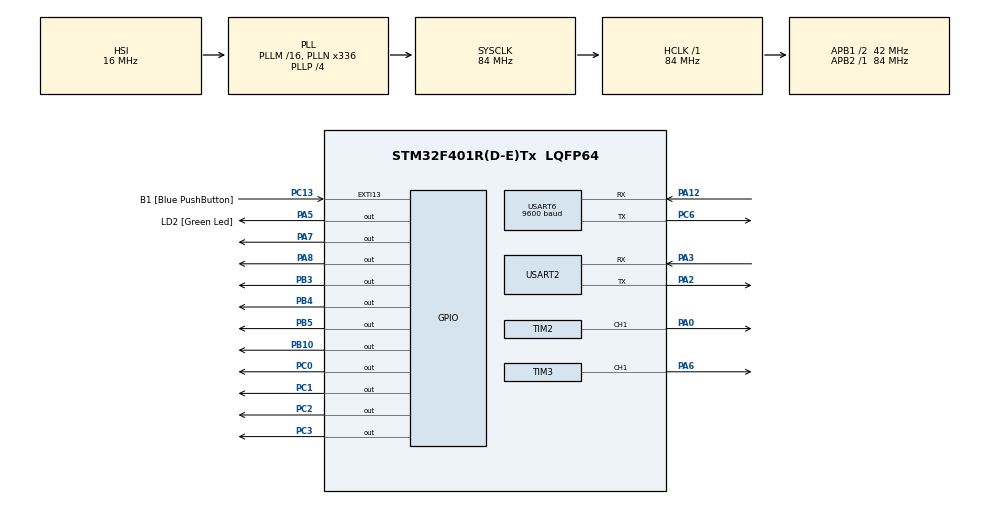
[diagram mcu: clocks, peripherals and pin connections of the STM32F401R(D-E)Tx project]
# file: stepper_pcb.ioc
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Mcu.Family=STM32F4
Mcu.Name=STM32F401R(D-E)Tx
Mcu.Package=LQFP64
NVIC.PriorityGroup=NVIC_PRIORITYGROUP_0
NVIC.TIM1_TRG_COM_TIM11_IRQn=true\:0\:0\:false\:false\:true\:true\:true\:true
NVIC.TIM1_UP_TIM10_IRQn=true\:0\:0\:false\:false\:true\:true\:true\:true
NVIC.USART2_IRQn=true\:0\:0\:false\:false\:true\:true\:true\:true
NVIC.USART6_IRQn=true\:0\:0\:false\:false\:true\:true\:true\:true
PA0-WKUP.Signal=S_TIM2_CH1_ETR
PA12.Mode=Asynchronous
PA12.Signal=USART6_RX
PA13.GPIO_Label=TMS
PA13.Signal=SYS_JTMS-SWDIO
PA14.GPIO_Label=TCK
PA14.Signal=SYS_JTCK-SWCLK
PA2.Mode=Asynchronous
PA2.Signal=USART2_TX
PA3.Mode=Asynchronous
PA3.Signal=USART2_RX
PA5.GPIO_Label=LD2 [Green Led]
PA5.GPIO_Mode=GPIO_MODE_OUTPUT_PP
PA5.GPIO_PuPd=GPIO_NOPULL
PA5.GPIO_Speed=GPIO_SPEED_FREQ_LOW
PA5.Signal=GPIO_Output
PA6.Signal=S_TIM3_CH1
PA7.Signal=GPIO_Output
PA8.Signal=GPIO_Output
PB10.Signal=GPIO_Output
PB3.Signal=GPIO_Output
PB4.Signal=GPIO_Output
PB5.Signal=GPIO_Output
PC0.Signal=GPIO_Output
PC1.Signal=GPIO_Output
PC13-ANTI_TAMP.GPIO_Label=B1 [Blue PushButton]
PC13-ANTI_TAMP.GPIO_ModeDefaultEXTI=GPIO_MODE_IT_FALLING
PC13-ANTI_TAMP.GPIO_PuPd=GPIO_NOPULL
PC13-ANTI_TAMP.Signal=GPXTI13
PC14-OSC32_IN.Signal=RCC_OSC32_IN
PC15-OSC32_OUT.Signal=RCC_OSC32_OUT
PC2.Signal=GPIO_Output
PC3.Signal=GPIO_Output
PC6.Mode=Asynchronous
PC6.Signal=USART6_TX
PH0\ -\ OSC_IN.Signal=RCC_OSC_IN
PH1\ -\ OSC_OUT.Signal=RCC_OSC_OUT
ProjectManager.HeapSize=0x200
ProjectManager.StackSize=0x400
ProjectManager.TargetToolchain=STM32CubeIDE
RCC.AHBFreq_Value=84000000
RCC.APB1CLKDivider=RCC_HCLK_DIV2
RCC.APB1Freq_Value=42000000
RCC.APB1TimFreq_Value=84000000
RCC.APB2Freq_Value=84000000
RCC.APB2TimFreq_Value=84000000
RCC.CortexFreq_Value=84000000
RCC.HCLKFreq_Value=84000000
RCC.HSE_VALUE=8000000
RCC.HSI_VALUE=16000000
RCC.LSE_VALUE=32768
RCC.PLLN=336
RCC.PLLP=RCC_PLLP_DIV4
RCC.PLLQ=7
RCC.SYSCLKFreq_VALUE=84000000
RCC.SYSCLKSource=RCC_SYSCLKSOURCE_PLLCLK
RCC.VCOOutputFreq_Value=336000000
SH.S_TIM2_CH1_ETR.0=TIM2_CH1,PWM Generation1 CH1
SH.S_TIM3_CH1.0=TIM3_CH1,PWM Generation1 CH1
TIM10.Period=9000
TIM10.Prescaler=4500
TIM11.Period=2999
TIM11.Prescaler=39
TIM2.Channel-PWM\ Generation1\ CH1=TIM_CHANNEL_1
TIM2.Period=1999
TIM2.Prescaler=419
TIM3.Channel-PWM\ Generation1\ CH1=TIM_CHANNEL_1
TIM3.Period=1999
TIM3.Prescaler=419
USART2.VirtualMode=VM_ASYNC
USART6.BaudRate=9600
USART6.VirtualMode=VM_ASYNC
VP_TIM10_VS_ClockSourceINT.Mode=Enable_Timer
VP_TIM11_VS_ClockSourceINT.Mode=Enable_Timer
VP_TIM2_VS_ClockSourceINT.Mode=Internal
VP_TIM3_VS_ClockSourceINT.Mode=Internal
board=NUCLEO-F401RE

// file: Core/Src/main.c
/* USER CODE BEGIN Header */
/**
  ******************************************************************************
  * @file           : main.c
  * @brief          : Main program body
  ******************************************************************************
  * @attention
  *
  * Copyright (c) 2024 STMicroelectronics.
  * All rights reserved.
  *
  * This software is licensed under terms that can be found in the LICENSE file
  * in the root directory of this software component.
  * If no LICENSE file comes with this software, it is provided AS-IS.
  *
  ******************************************************************************
  */
/* USER CODE END Header */
#include "main.h"

/* USER CODE BEGIN Includes */
#include"stdio.h"
#include"string.h"

/* USER CODE END Includes */

TIM_HandleTypeDef htim2;
TIM_HandleTypeDef htim3;
TIM_HandleTypeDef htim10;
TIM_HandleTypeDef htim11;

UART_HandleTypeDef huart2;
UART_HandleTypeDef huart6;

void SystemClock_Config(void);
static void MX_GPIO_Init(void);
static void MX_USART2_UART_Init(void);
static void MX_USART6_UART_Init(void);
static void MX_TIM11_Init(void);
static void MX_TIM2_Init(void);
static void MX_TIM3_Init(void);
static void MX_TIM10_Init(void);

/* USER CODE BEGIN 0 */
#define ENABLE_GPIO GPIOA
#define ENABLE_PIN GPIO_PIN_8

#define DIR1_GPIO GPIOB
#define DIR1_PIN GPIO_PIN_10
#define DIR2_GPIO GPIOB
#define DIR2_PIN GPIO_PIN_4
#define DIR3_GPIO GPIOB
#define DIR3_PIN GPIO_PIN_5
#define DIR4_GPIO GPIOB
#define DIR4_PIN GPIO_PIN_3

#define STEP_GPIO GPIOA
#define STEP_PIN GPIO_PIN_7

#define HB1_GPIO  GPIOC
#define HB2_GPIO  GPIOC
#define HB3_GPIO  GPIOC
#define HB4_GPIO  GPIOC
#define HB1_PIN  GPIO_PIN_0
#define HB2_PIN GPIO_PIN_1
#define HB3_PIN GPIO_PIN_2
#define HB4_PIN GPIO_PIN_3
uint8_t answer = 0;

int stepState = 0;
int PINCH_FORWARD_CCR = 205;
int PINCH_BACKWARD_CCR = 320;
int PAN_STOP = 302;
int PAN_UP = 310;
int PAN_DOWN = 295;

void HAL_TIM_PeriodElapsedCallback(TIM_HandleTypeDef *htim) {
    if (htim->Instance == TIM11) {
     	// HAL_GPIO_WritePin(ENABLE_GPIO, ENABLE_PIN, 0);
        HAL_GPIO_WritePin(STEP_GPIO, STEP_PIN, stepState ? GPIO_PIN_SET : GPIO_PIN_RESET);
        stepState = !stepState;
    }
    else if (htim->Instance == TIM10)
    {

    	TIM2->CCR1 = PINCH_BACKWARD_CCR;
    	HAL_TIM_Base_Stop_IT(&htim10);

    }
}

void set_forward_dir()
{
	HAL_GPIO_WritePin(DIR1_GPIO, DIR1_PIN, 1);
	HAL_GPIO_WritePin(DIR2_GPIO, DIR2_PIN, 1);
	HAL_GPIO_WritePin(DIR3_GPIO, DIR3_PIN, 1-1);
	HAL_GPIO_WritePin(DIR4_GPIO, DIR4_PIN, 1-1);
}
void set_backward_dir()
{
	HAL_GPIO_WritePin(DIR1_GPIO, DIR1_PIN, 0);
	HAL_GPIO_WritePin(DIR2_GPIO, DIR2_PIN, 0);
	HAL_GPIO_WritePin(DIR3_GPIO, DIR3_PIN, 1-0);
	HAL_GPIO_WritePin(DIR4_GPIO, DIR4_PIN, 1-0);
}
void set_left_dir()
{
	HAL_GPIO_WritePin(DIR1_GPIO, DIR1_PIN, 0);
	HAL_GPIO_WritePin(DIR2_GPIO, DIR2_PIN, 1);
	HAL_GPIO_WritePin(DIR3_GPIO, DIR3_PIN, 1-1);
	HAL_GPIO_WritePin(DIR4_GPIO, DIR4_PIN, 1-0);
}
void set_right_dir()
{
	HAL_GPIO_WritePin(DIR1_GPIO, DIR1_PIN, 1);
	HAL_GPIO_WritePin(DIR2_GPIO, DIR2_PIN, 0);
	HAL_GPIO_WritePin(DIR3_GPIO, DIR3_PIN, 1-0);
	HAL_GPIO_WritePin(DIR4_GPIO, DIR4_PIN, 1-1);
}
void set_ccw_dir()
{
	HAL_GPIO_WritePin(DIR1_GPIO, DIR1_PIN, 0);
		HAL_GPIO_WritePin(DIR2_GPIO, DIR2_PIN, 0);
		HAL_GPIO_WritePin(DIR3_GPIO, DIR3_PIN, 1-1);
		HAL_GPIO_WritePin(DIR4_GPIO, DIR4_PIN, 1-1);
}
void set_cw_dir()
{
	HAL_GPIO_WritePin(DIR1_GPIO, DIR1_PIN, 1);
		HAL_GPIO_WritePin(DIR2_GPIO, DIR2_PIN, 1);
		HAL_GPIO_WritePin(DIR3_GPIO, DIR3_PIN, 1-0);
		HAL_GPIO_WritePin(DIR4_GPIO, DIR4_PIN, 1-0);
}
void enable()
{
	HAL_GPIO_WritePin(ENABLE_GPIO, ENABLE_PIN, 0);
}
void disable()
{
	HAL_GPIO_WritePin(ENABLE_GPIO, ENABLE_PIN, 1);
}

char number = 0;
/* USER CODE END 0 */

int main(void)
{

  /* MCU Configuration--------------------------------------------------------*/

  /* Reset of all peripherals, Initializes the Flash interface and the Systick. */
  HAL_Init();

  /* Configure the system clock */
  SystemClock_Config();

  /* Initialize all configured peripherals */
  MX_GPIO_Init();
  MX_USART2_UART_Init();
  MX_USART6_UART_Init();
  MX_TIM11_Init();
  MX_TIM2_Init();
  MX_TIM3_Init();
  MX_TIM10_Init();
  /* USER CODE BEGIN 2 */
  // HAL_TIM_Base_Start_IT(&htim10);
  HAL_UART_Receive_IT(&huart6, &answer, 1);
  HAL_UART_Receive_IT(&huart2, &number, 1);
  HAL_TIM_PWM_Start(&htim2, TIM_CHANNEL_1);
  HAL_TIM_PWM_Start(&htim3, TIM_CHANNEL_1);
  // HAL_TIM_Base_Start_IT(&htim11);
  /* USER CODE END 2 */

  /* Infinite loop */
  /* USER CODE BEGIN WHILE */
  // HAL_GPIO_WritePin(ENABLE_GPIO, ENABLE_PIN, 1);
  HAL_GPIO_WritePin(DIR1_GPIO, DIR1_PIN, 0);
  HAL_GPIO_WritePin(DIR2_GPIO, DIR2_PIN, 0);
  HAL_GPIO_WritePin(DIR3_GPIO, DIR3_PIN, 0);
  HAL_GPIO_WritePin(DIR4_GPIO, DIR4_PIN, 0);

  disable();
  while (1)
  {
	  printf("hello world\n");
	  // HAL_GPIO_WritePin(STEP_GPIO, STEP_PIN, 1);
	  // HAL_Delay(100);
	  // HAL_GPIO_WritePin(STEP_GPIO, STEP_PIN, 0);
	  // HAL_Delay(100);
	  HAL_Delay(1000);
    /* USER CODE END WHILE */

  }
}

void SystemClock_Config(void)
{
  RCC_OscInitTypeDef RCC_OscInitStruct = {0};
  RCC_ClkInitTypeDef RCC_ClkInitStruct = {0};

  /** Configure the main internal regulator output voltage
  */
  __HAL_RCC_PWR_CLK_ENABLE();
  __HAL_PWR_VOLTAGESCALING_CONFIG(PWR_REGULATOR_VOLTAGE_SCALE2);

  /** Initializes the RCC Oscillators according to the specified parameters
  * in the RCC_OscInitTypeDef structure.
  */
  RCC_OscInitStruct.OscillatorType = RCC_OSCILLATORTYPE_HSI;
  RCC_OscInitStruct.HSIState = RCC_HSI_ON;
  RCC_OscInitStruct.HSICalibrationValue = RCC_HSICALIBRATION_DEFAULT;
  RCC_OscInitStruct.PLL.PLLState = RCC_PLL_ON;
  RCC_OscInitStruct.PLL.PLLSource = RCC_PLLSOURCE_HSI;
  RCC_OscInitStruct.PLL.PLLM = 16;
  RCC_OscInitStruct.PLL.PLLN = 336;
  RCC_OscInitStruct.PLL.PLLP = RCC_PLLP_DIV4;
  RCC_OscInitStruct.PLL.PLLQ = 7;
  if (HAL_RCC_OscConfig(&RCC_OscInitStruct) != HAL_OK)
  {
    Error_Handler();
  }

  /** Initializes the CPU, AHB and APB buses clocks
  */
  RCC_ClkInitStruct.ClockType = RCC_CLOCKTYPE_HCLK|RCC_CLOCKTYPE_SYSCLK
                              |RCC_CLOCKTYPE_PCLK1|RCC_CLOCKTYPE_PCLK2;
  RCC_ClkInitStruct.SYSCLKSource = RCC_SYSCLKSOURCE_PLLCLK;
  RCC_ClkInitStruct.AHBCLKDivider = RCC_SYSCLK_DIV1;
  RCC_ClkInitStruct.APB1CLKDivider = RCC_HCLK_DIV2;
  RCC_ClkInitStruct.APB2CLKDivider = RCC_HCLK_DIV1;

  if (HAL_RCC_ClockConfig(&RCC_ClkInitStruct, FLASH_LATENCY_2) != HAL_OK)
  {
    Error_Handler();
  }
}

static void MX_TIM2_Init(void)
{

  TIM_ClockConfigTypeDef sClockSourceConfig = {0};
  TIM_MasterConfigTypeDef sMasterConfig = {0};
  TIM_OC_InitTypeDef sConfigOC = {0};

  htim2.Instance = TIM2;
  htim2.Init.Prescaler = 419;
  htim2.Init.CounterMode = TIM_COUNTERMODE_UP;
  htim2.Init.Period = 1999;
  htim2.Init.ClockDivision = TIM_CLOCKDIVISION_DIV1;
  htim2.Init.AutoReloadPreload = TIM_AUTORELOAD_PRELOAD_DISABLE;
  if (HAL_TIM_Base_Init(&htim2) != HAL_OK)
  {
    Error_Handler();
  }
  sClockSourceConfig.ClockSource = TIM_CLOCKSOURCE_INTERNAL;
  if (HAL_TIM_ConfigClockSource(&htim2, &sClockSourceConfig) != HAL_OK)
  {
    Error_Handler();
  }
  if (HAL_TIM_PWM_Init(&htim2) != HAL_OK)
  {
    Error_Handler();
  }
  sMasterConfig.MasterOutputTrigger = TIM_TRGO_RESET;
  sMasterConfig.MasterSlaveMode = TIM_MASTERSLAVEMODE_DISABLE;
  if (HAL_TIMEx_MasterConfigSynchronization(&htim2, &sMasterConfig) != HAL_OK)
  {
    Error_Handler();
  }
  sConfigOC.OCMode = TIM_OCMODE_PWM1;
  sConfigOC.Pulse = 0;
  sConfigOC.OCPolarity = TIM_OCPOLARITY_HIGH;
  sConfigOC.OCFastMode = TIM_OCFAST_DISABLE;
  if (HAL_TIM_PWM_ConfigChannel(&htim2, &sConfigOC, TIM_CHANNEL_1) != HAL_OK)
  {
    Error_Handler();
  }
  HAL_TIM_MspPostInit(&htim2);

}

static void MX_TIM3_Init(void)
{

  TIM_ClockConfigTypeDef sClockSourceConfig = {0};
  TIM_MasterConfigTypeDef sMasterConfig = {0};
  TIM_OC_InitTypeDef sConfigOC = {0};

  htim3.Instance = TIM3;
  htim3.Init.Prescaler = 419;
  htim3.Init.CounterMode = TIM_COUNTERMODE_UP;
  htim3.Init.Period = 1999;
  htim3.Init.ClockDivision = TIM_CLOCKDIVISION_DIV1;
  htim3.Init.AutoReloadPreload = TIM_AUTORELOAD_PRELOAD_DISABLE;
  if (HAL_TIM_Base_Init(&htim3) != HAL_OK)
  {
    Error_Handler();
  }
  sClockSourceConfig.ClockSource = TIM_CLOCKSOURCE_INTERNAL;
  if (HAL_TIM_ConfigClockSource(&htim3, &sClockSourceConfig) != HAL_OK)
  {
    Error_Handler();
  }
  if (HAL_TIM_PWM_Init(&htim3) != HAL_OK)
  {
    Error_Handler();
  }
  sMasterConfig.MasterOutputTrigger = TIM_TRGO_RESET;
  sMasterConfig.MasterSlaveMode = TIM_MASTERSLAVEMODE_DISABLE;
  if (HAL_TIMEx_MasterConfigSynchronization(&htim3, &sMasterConfig) != HAL_OK)
  {
    Error_Handler();
  }
  sConfigOC.OCMode = TIM_OCMODE_PWM1;
  sConfigOC.Pulse = 0;
  sConfigOC.OCPolarity = TIM_OCPOLARITY_HIGH;
  sConfigOC.OCFastMode = TIM_OCFAST_DISABLE;
  if (HAL_TIM_PWM_ConfigChannel(&htim3, &sConfigOC, TIM_CHANNEL_1) != HAL_OK)
  {
    Error_Handler();
  }
  HAL_TIM_MspPostInit(&htim3);

}

static void MX_TIM10_Init(void)
{

  htim10.Instance = TIM10;
  htim10.Init.Prescaler = 4500;
  htim10.Init.CounterMode = TIM_COUNTERMODE_UP;
  htim10.Init.Period = 9000;
  htim10.Init.ClockDivision = TIM_CLOCKDIVISION_DIV1;
  htim10.Init.AutoReloadPreload = TIM_AUTORELOAD_PRELOAD_DISABLE;
  if (HAL_TIM_Base_Init(&htim10) != HAL_OK)
  {
    Error_Handler();
  }

}

static void MX_TIM11_Init(void)
{

  htim11.Instance = TIM11;
  htim11.Init.Prescaler = 39;
  htim11.Init.CounterMode = TIM_COUNTERMODE_UP;
  htim11.Init.Period = 2999;
  htim11.Init.ClockDivision = TIM_CLOCKDIVISION_DIV1;
  htim11.Init.AutoReloadPreload = TIM_AUTORELOAD_PRELOAD_DISABLE;
  if (HAL_TIM_Base_Init(&htim11) != HAL_OK)
  {
    Error_Handler();
  }

}

static void MX_USART2_UART_Init(void)
{

  huart2.Instance = USART2;
  huart2.Init.BaudRate = 115200;
  huart2.Init.WordLength = UART_WORDLENGTH_8B;
  huart2.Init.StopBits = UART_STOPBITS_1;
  huart2.Init.Parity = UART_PARITY_NONE;
  huart2.Init.Mode = UART_MODE_TX_RX;
  huart2.Init.HwFlowCtl = UART_HWCONTROL_NONE;
  huart2.Init.OverSampling = UART_OVERSAMPLING_16;
  if (HAL_UART_Init(&huart2) != HAL_OK)
  {
    Error_Handler();
  }

}

static void MX_USART6_UART_Init(void)
{

  huart6.Instance = USART6;
  huart6.Init.BaudRate = 9600;
  huart6.Init.WordLength = UART_WORDLENGTH_8B;
  huart6.Init.StopBits = UART_STOPBITS_1;
  huart6.Init.Parity = UART_PARITY_NONE;
  huart6.Init.Mode = UART_MODE_TX_RX;
  huart6.Init.HwFlowCtl = UART_HWCONTROL_NONE;
  huart6.Init.OverSampling = UART_OVERSAMPLING_16;
  if (HAL_UART_Init(&huart6) != HAL_OK)
  {
    Error_Handler();
  }

}

static void MX_GPIO_Init(void)
{
  GPIO_InitTypeDef GPIO_InitStruct = {0};

  /* GPIO Ports Clock Enable */
  __HAL_RCC_GPIOC_CLK_ENABLE();
  __HAL_RCC_GPIOH_CLK_ENABLE();
  __HAL_RCC_GPIOA_CLK_ENABLE();
  __HAL_RCC_GPIOB_CLK_ENABLE();

  /*Configure GPIO pin Output Level */
  HAL_GPIO_WritePin(GPIOC, GPIO_PIN_0|GPIO_PIN_1|GPIO_PIN_2|GPIO_PIN_3, GPIO_PIN_RESET);

  /*Configure GPIO pin Output Level */
  HAL_GPIO_WritePin(GPIOA, LD2_Pin|GPIO_PIN_7|GPIO_PIN_8, GPIO_PIN_RESET);

  /*Configure GPIO pin Output Level */
  HAL_GPIO_WritePin(GPIOB, GPIO_PIN_10|GPIO_PIN_3|GPIO_PIN_4|GPIO_PIN_5, GPIO_PIN_RESET);

  /*Configure GPIO pin : B1_Pin */
  GPIO_InitStruct.Pin = B1_Pin;
  GPIO_InitStruct.Mode = GPIO_MODE_IT_FALLING;
  GPIO_InitStruct.Pull = GPIO_NOPULL;
  HAL_GPIO_Init(B1_GPIO_Port, &GPIO_InitStruct);

  /*Configure GPIO pins : PC0 PC1 PC2 PC3 */
  GPIO_InitStruct.Pin = GPIO_PIN_0|GPIO_PIN_1|GPIO_PIN_2|GPIO_PIN_3;
  GPIO_InitStruct.Mode = GPIO_MODE_OUTPUT_PP;
  GPIO_InitStruct.Pull = GPIO_NOPULL;
  GPIO_InitStruct.Speed = GPIO_SPEED_FREQ_LOW;
  HAL_GPIO_Init(GPIOC, &GPIO_InitStruct);

  /*Configure GPIO pins : LD2_Pin PA7 PA8 */
  GPIO_InitStruct.Pin = LD2_Pin|GPIO_PIN_7|GPIO_PIN_8;
  GPIO_InitStruct.Mode = GPIO_MODE_OUTPUT_PP;
  GPIO_InitStruct.Pull = GPIO_NOPULL;
  GPIO_InitStruct.Speed = GPIO_SPEED_FREQ_LOW;
  HAL_GPIO_Init(GPIOA, &GPIO_InitStruct);

  /*Configure GPIO pins : PB10 PB3 PB4 PB5 */
  GPIO_InitStruct.Pin = GPIO_PIN_10|GPIO_PIN_3|GPIO_PIN_4|GPIO_PIN_5;
  GPIO_InitStruct.Mode = GPIO_MODE_OUTPUT_PP;
  GPIO_InitStruct.Pull = GPIO_NOPULL;
  GPIO_InitStruct.Speed = GPIO_SPEED_FREQ_LOW;
  HAL_GPIO_Init(GPIOB, &GPIO_InitStruct);

}

/* USER CODE BEGIN 4 */

#ifdef __GNUC__
#define PUTCHAR_PROTOTYPE int __io_putchar(int ch)
#else
  #define PUTCHAR_PROTOTYPE int fputc(int ch, FILE *f)
#endif /* __GNUC__ */
PUTCHAR_PROTOTYPE
{
  HAL_UART_Transmit(&huart2, (uint8_t *)&ch, 1, 0xFFFF);
  return ch;
}

void HAL_UART_RxCpltCallback(UART_HandleTypeDef* hadc) {

	if (hadc == &huart2)
	{
		static char numbers[4] = {0};
		static int offset = 0;

		if (number != '\n')
		{
			printf("received: %c\n", number);
			numbers[offset++] = number;

			if (offset == 3)
			{
				int intNum = atoi(numbers);
				printf("set: %d\n", intNum);
				// TIM2->CCR1 = intNum;
				TIM3->CCR1 = intNum;
				offset = 0;
			}
		}
		HAL_UART_Receive_IT(&huart2, &number, 1);

	}
	else
	{
		printf("received: %d\n", (int)answer);
		static hold = 0;
		switch(answer)
		{
		case 1:
			set_ccw_dir();
			break;
		case 2:
			set_cw_dir();
			break;
		case 4:
			set_forward_dir();
			break;
		case 8:
			set_backward_dir();
			break;
		case 16:
			HAL_TIM_Base_Start_IT(&htim10);
			TIM2->CCR1 = PINCH_FORWARD_CCR;
			break;
		case 32:
			static spinning = 0;

			if (!hold)
			{
				hold = 1;
				spinning = 1-spinning;
			}
			if (!spinning)
			{
				HAL_GPIO_WritePin(HB1_GPIO, HB1_PIN, 0);
				HAL_GPIO_WritePin(HB2_GPIO, HB2_PIN, 0);
				HAL_GPIO_WritePin(HB3_GPIO, HB3_PIN, 0);
				HAL_GPIO_WritePin(HB4_GPIO, HB4_PIN, 0);
			}
			else
			{
				HAL_GPIO_WritePin(HB1_GPIO, HB1_PIN, 0);
				HAL_GPIO_WritePin(HB2_GPIO, HB2_PIN, 1);
				HAL_GPIO_WritePin(HB3_GPIO, HB3_PIN, 1);
				HAL_GPIO_WritePin(HB4_GPIO, HB4_PIN, 0);
			}

		}
		static int disabled = 0;
		if ((answer & 0b1111) == 0 && !disabled)
		{
			disabled = 1;
			disable();
			HAL_TIM_Base_Stop_IT(&htim11);
		}
		else if ((answer & 0b1111) != 0 && disabled)
		{
			disabled = 0;
			enable();
			HAL_TIM_Base_Start_IT(&htim11);
		}
		disabled = (answer & 0b1111) != 0;
		if ((answer & 32) == 0)
		{
			hold = 0;
		}
		 HAL_UART_Receive_IT(&huart6, &answer, 1);
	}
 }
/* USER CODE END 4 */

void Error_Handler(void)
{
  __disable_irq();
  while (1)
  {
  }
}
